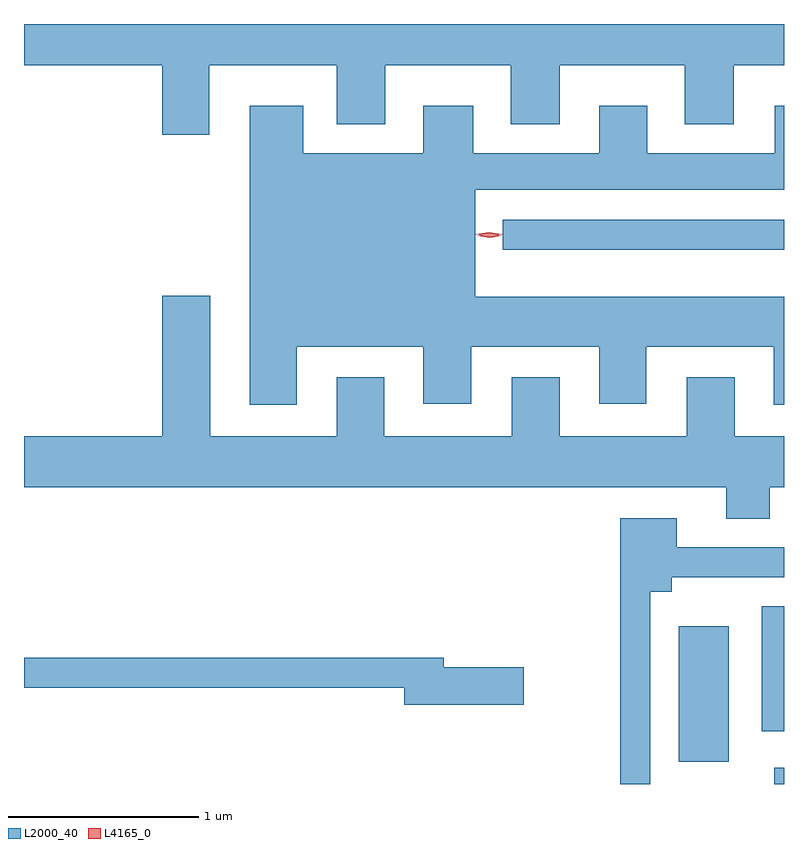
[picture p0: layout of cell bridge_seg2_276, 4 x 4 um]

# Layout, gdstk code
import gdstk
lib = gdstk.Library(unit=1e-6, precision=1e-09)
def R(c, l, rs):  # rectangles x0, y0, x1, y1
    for r in rs: c.add(gdstk.rectangle(r[:2], r[2:], *l))
def P(c, l, *ps):  # polygons
    for p in ps: c.add(gdstk.Polygon(p, *l))
L2000_40 = (2000, 40)
L4165_0 = (4165, 0)

bridge_seg2_276 = lib.new_cell('bridge_seg2_276')
R(bridge_seg2_276, L2000_40, [(604.973,1051.194,605.024,1051.279), (604.471,1051.311,604.734,1052.024), (604.906,1051.471,605.024,1052.129), (603.543,1054.006,605.024,1054.164)])
P(bridge_seg2_276, L2000_40, [(601.999,1054.976),(602.671,1054.976),(602.671,1054.666),(602.924,1054.666),(602.924,1054.976),(603.586,1054.976),(603.586,1054.666),(603.844,1054.666),(603.844,1054.976),(604.501,1054.976),(604.501,1054.666),(604.759,1054.666),(604.759,1054.976),(605.024,1054.976),(605.024,1055.194),(601.024,1055.194),(601.024,1054.976),(601.751,1054.976),(601.751,1054.611),(601.999,1054.611)],
  [(602.459,1053.496),(603.126,1053.496),(603.126,1053.196),(603.379,1053.196),(603.379,1053.496),(604.051,1053.496),(604.051,1053.196),(604.299,1053.196),(604.299,1053.496),(604.971,1053.496),(604.971,1053.191),(605.024,1053.191),(605.024,1053.759),(603.399,1053.759),(603.399,1054.321),(605.024,1054.321),(605.024,1054.764),(604.976,1054.764),(604.976,1054.514),(604.304,1054.514),(604.304,1054.764),(604.051,1054.764),(604.051,1054.514),(603.389,1054.514),(603.389,1054.764),(603.126,1054.764),(603.126,1054.514),(602.494,1054.514),(602.494,1054.764),(602.211,1054.764),(602.211,1053.191),(602.459,1053.191)],
  [(604.949,1052.756),(605.024,1052.756),(605.024,1053.024),(604.764,1053.024),(604.764,1053.334),(604.511,1053.334),(604.511,1053.024),(603.844,1053.024),(603.844,1053.334),(603.591,1053.334),(603.591,1053.024),(602.919,1053.024),(602.919,1053.334),(602.671,1053.334),(602.671,1053.024),(602.004,1053.024),(602.004,1053.764),(601.751,1053.764),(601.751,1053.024),(601.024,1053.024),(601.024,1052.756),(604.721,1052.756),(604.721,1052.591),(604.949,1052.591)],
  [(604.319,1052.206),(604.434,1052.206),(604.434,1052.281),(605.024,1052.281),(605.024,1052.439),(604.459,1052.439),(604.459,1052.594),(604.161,1052.594),(604.161,1051.194),(604.319,1051.194)],
  [(603.654,1051.809),(603.234,1051.809),(603.234,1051.859),(601.024,1051.859),(601.024,1051.701),(603.026,1051.701),(603.026,1051.611),(603.654,1051.611)])
P(bridge_seg2_276, L4165_0, [(603.475,1054.07),(603.413,1054.079),(603.412,1054.08),(603.413,1054.08),(603.475,1054.09),(603.536,1054.08),(603.537,1054.08),(603.536,1054.079)],
  [(603.471,1054.078),(603.402,1054.087),(603.402,1054.088),(603.402,1054.088),(603.471,1054.097),(603.54,1054.088),(603.54,1054.087),(603.54,1054.087)])

lib.write_gds('bridge_seg2_276.gds')
